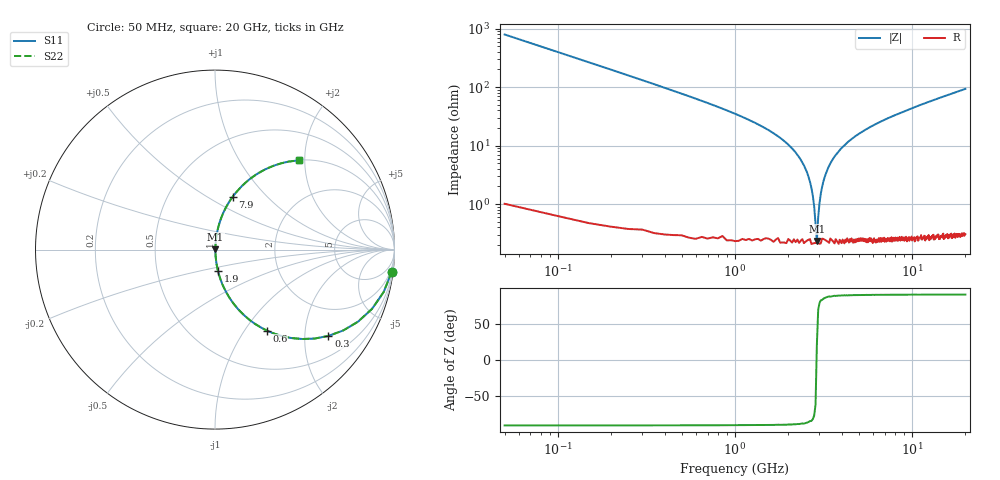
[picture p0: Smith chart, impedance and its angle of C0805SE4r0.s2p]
! AVX Thin Film Operation		Date: April 2012
! Description: Accu-P® Series, Thin Film, SMD, RF Capacitor
! Part Number: 08051J4R0ABTTR
!	100	MHz	-	20.05	GHz
!	Serial	Measurements
#	MHZ	S	MA	R	50
!	S11	S21	S12	S22
!	dB	Phase	dB	Phase	dB	Phase	dB	Phase
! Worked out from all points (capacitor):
!   400 points, 50 MHz to 20 GHz, reference 50 ohm
!   read as one part in series: C = 4 pF near 150 MHz
!   lowest |Z| = 233 mohm at 2.9 GHz (marker M1)
!   series resonance near 2.891 GHz, so ESL is about 760 pH
!   S11 on the Smith chart (normalised r, x): 50 MHz: 1, -16; 300 MHz: 1.01, -2.62; 600 MHz: 1.01, -1.27; 1.9 GHz: 1.00, -0.24; 7.9 GHz: 1.00, +0.65; 20 GHz: 1.01, +1.87
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50  0.992 -7.2  0.125 82.8  0.125 82.8  0.992 -7.2
150  0.935 -20.7  0.353 69.2  0.353 69.2  0.935 -20.7
300  0.794 -37.3  0.605 52.6  0.605 52.6  0.794 -37.3
600  0.535 -57.4  0.843 32.3  0.843 32.3  0.535 -57.4
1050  0.312 -71.4  0.948 18.2  0.948 18.2  0.312 -71.4
1900  0.118 -82.1  0.991 6.8  0.991 6.8  0.118 -82.1
2350  0.057 -84.4  0.996 3.3  0.996 3.3  0.057 -84.4
2650  0.024 -83.1  0.997 1.4  0.997 1.4  0.024 -83.1
2800  0.009092 -74.7  0.998 0.5  0.998 0.5  0.009092 -74.7
2900  0.002471 20.0  0.998 -0.0  0.998 -0.0  0.002471 20.0
2950  0.006008 67.0  0.998 -0.3  0.998 -0.3  0.006008 67.0
3050  0.015 80.2  0.998 -0.8  0.998 -0.8  0.015 80.2
3150  0.024 83.0  0.997 -1.4  0.997 -1.4  0.024 83.0
3400  0.045 84.5  0.997 -2.6  0.997 -2.6  0.045 84.5
3850  0.08 83.8  0.995 -4.6  0.995 -4.6  0.08 83.8
4500  0.125 81.8  0.99 -7.2  0.99 -7.2  0.125 81.8
6700  0.251 74.9  0.966 -14.5  0.966 -14.5  0.251 74.9
7900  0.309 71.6  0.949 -18.0  0.949 -18.0  0.309 71.6
10050  0.401 66.0  0.914 -23.6  0.914 -23.6  0.401 66.0
13350  0.517 58.6  0.854 -31.1  0.854 -31.1  0.517 58.6
16700  0.61 52.2  0.79 -37.6  0.79 -37.6  0.61 52.2
20000  0.681 46.9  0.73 -42.9  0.73 -42.9  0.681 46.9
